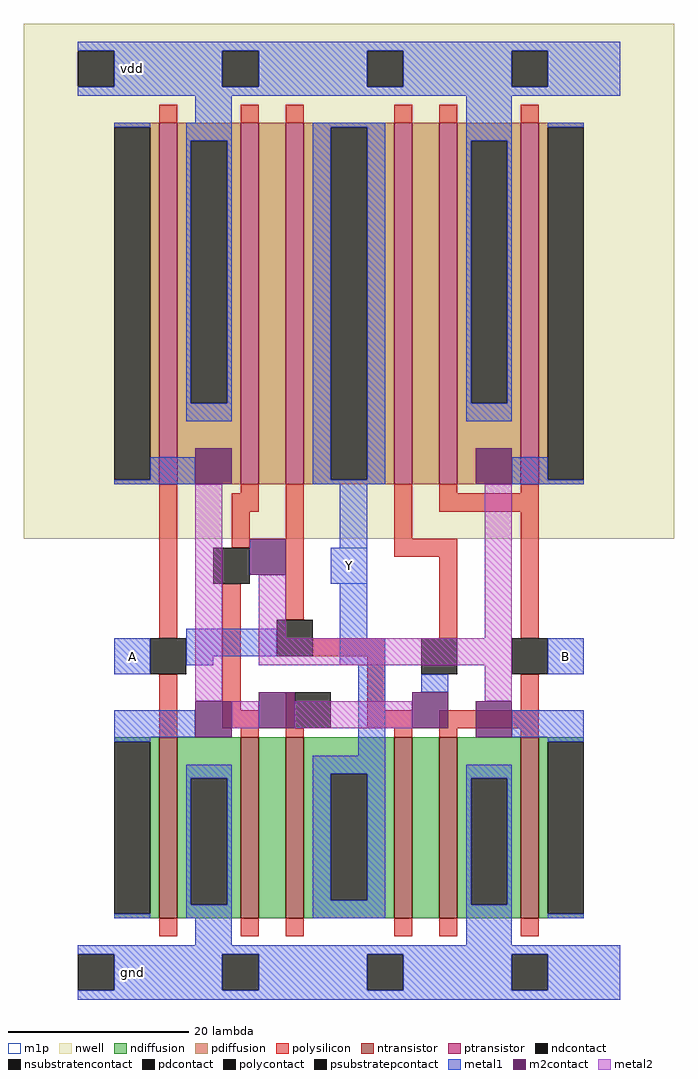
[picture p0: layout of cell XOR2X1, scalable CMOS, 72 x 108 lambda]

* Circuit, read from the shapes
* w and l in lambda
.subckt XOR2X1 A B Y vdd gnd
M1 gnd A n1 gnd nfet w=20 l=2
M2 n2 n3 gnd gnd nfet w=20 l=2
M3 Y n1 n2 gnd nfet w=20 l=2
M4 n4 A Y gnd nfet w=20 l=2
M5 gnd B n4 gnd nfet w=20 l=2
M6 n3 B gnd gnd nfet w=20 l=2
M7 vdd A n1 vdd pfet w=40 l=2
M8 n5 n3 vdd vdd pfet w=40 l=2
M9 Y A n5 vdd pfet w=40 l=2
M10 n6 n1 Y vdd pfet w=40 l=2
M11 vdd B n6 vdd pfet w=40 l=2
M12 n3 B vdd vdd pfet w=40 l=2
.ends

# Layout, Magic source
magic
tech scmos
magscale 1 2
<< nwell >>
rect -16 96 128 210
<< ntransistor >>
rect 14 12 18 52
rect 32 12 36 52
rect 42 12 46 52
rect 66 12 70 52
rect 76 12 80 52
rect 94 12 98 52
<< ptransistor >>
rect 14 108 18 188
rect 32 108 36 188
rect 42 108 46 188
rect 66 108 70 188
rect 76 108 80 188
rect 94 108 98 188
<< ndiffusion >>
rect 4 51 14 52
rect 12 13 14 51
rect 4 12 14 13
rect 18 43 32 52
rect 18 15 21 43
rect 29 15 32 43
rect 18 12 32 15
rect 36 12 42 52
rect 46 44 66 52
rect 46 16 52 44
rect 60 16 66 44
rect 46 12 66 16
rect 70 12 76 52
rect 80 43 94 52
rect 80 15 83 43
rect 91 15 94 43
rect 80 12 94 15
rect 98 51 108 52
rect 98 13 100 51
rect 98 12 108 13
<< pdiffusion >>
rect 4 187 14 188
rect 12 109 14 187
rect 4 108 14 109
rect 18 184 32 188
rect 18 126 21 184
rect 29 126 32 184
rect 18 108 32 126
rect 36 108 42 188
rect 46 187 66 188
rect 46 109 52 187
rect 60 109 66 187
rect 46 108 66 109
rect 70 108 76 188
rect 80 184 94 188
rect 80 126 83 184
rect 91 126 94 184
rect 80 108 94 126
rect 98 187 108 188
rect 98 109 100 187
rect 98 108 108 109
<< ndcontact >>
rect 4 13 12 51
rect 21 15 29 43
rect 52 16 60 44
rect 83 15 91 43
rect 100 13 108 51
<< pdcontact >>
rect 4 109 12 187
rect 21 126 29 184
rect 52 109 60 187
rect 83 126 91 184
rect 100 109 108 187
<< psubstratepcontact >>
rect -4 -4 4 4
rect 28 -4 36 4
rect 60 -4 68 4
rect 92 -4 100 4
<< nsubstratencontact >>
rect -4 196 4 204
rect 28 196 36 204
rect 60 196 68 204
rect 92 196 100 204
<< polysilicon >>
rect 14 188 18 192
rect 32 188 36 192
rect 42 188 46 192
rect 66 188 70 192
rect 76 188 80 192
rect 94 188 98 192
rect 14 74 18 108
rect 32 106 36 108
rect 30 102 36 106
rect 30 94 34 102
rect 14 52 18 66
rect 28 58 32 86
rect 42 78 46 108
rect 66 96 70 108
rect 76 106 80 108
rect 94 106 98 108
rect 76 102 98 106
rect 66 92 80 96
rect 76 74 80 92
rect 94 74 98 102
rect 48 70 64 74
rect 28 54 36 58
rect 32 52 36 54
rect 42 54 44 62
rect 60 58 64 70
rect 94 58 98 66
rect 60 54 70 58
rect 42 52 46 54
rect 66 52 70 54
rect 76 54 98 58
rect 76 52 80 54
rect 94 52 98 54
rect 14 8 18 12
rect 32 8 36 12
rect 42 8 46 12
rect 66 8 70 12
rect 76 8 80 12
rect 94 8 98 12
<< polycontact >>
rect 26 86 34 94
rect 12 66 20 74
rect 40 70 48 78
rect 44 54 52 62
rect 72 66 80 74
rect 92 66 100 74
<< metal1 >>
rect -4 204 116 206
rect 4 196 28 204
rect 36 196 60 204
rect 68 196 92 204
rect 100 196 116 204
rect -4 194 116 196
rect 22 188 30 194
rect 4 187 12 188
rect 20 184 30 188
rect 20 126 21 184
rect 29 126 30 184
rect 20 122 30 126
rect 48 187 64 188
rect 12 109 22 114
rect 4 108 22 109
rect 48 109 52 187
rect 60 109 64 187
rect 82 184 92 194
rect 82 126 83 184
rect 91 126 92 184
rect 82 122 92 126
rect 100 187 108 188
rect 48 108 64 109
rect 92 109 100 114
rect 92 108 108 109
rect 54 94 60 108
rect 52 86 60 94
rect 4 66 12 74
rect 20 70 40 76
rect 54 74 60 86
rect 20 68 26 70
rect 54 68 64 74
rect 4 52 22 58
rect 4 51 12 52
rect 58 48 64 68
rect 100 66 108 74
rect 72 62 78 66
rect 92 52 108 58
rect 4 12 12 13
rect 20 43 30 46
rect 20 15 21 43
rect 29 15 30 43
rect 20 12 30 15
rect 48 44 64 48
rect 100 51 108 52
rect 48 16 52 44
rect 60 16 64 44
rect 48 12 64 16
rect 82 43 92 46
rect 82 15 83 43
rect 91 15 92 43
rect 22 6 30 12
rect 82 6 92 15
rect 100 12 108 13
rect -4 4 116 6
rect 4 -4 28 4
rect 36 -4 60 4
rect 68 -4 92 4
rect 100 -4 116 4
rect -4 -6 116 -4
<< m2contact >>
rect 22 108 30 116
rect 84 108 92 116
rect 34 88 42 96
rect 22 52 30 60
rect 36 54 44 62
rect 70 54 78 62
rect 84 52 92 60
<< metal2 >>
rect 22 60 28 108
rect 36 74 42 88
rect 86 74 92 108
rect 36 68 92 74
rect 30 54 36 60
rect 44 54 70 60
rect 86 60 92 68
<< m1p >>
rect 52 86 60 94
rect 4 66 12 74
rect 100 66 108 74
<< labels >>
rlabel metal1 56 90 56 90 4 Y
port 3 se
rlabel metal1 8 200 8 200 4 vdd
port 4 se
rlabel metal1 104 70 104 70 4 B
port 2 se
rlabel metal1 8 70 8 70 4 A
port 1 se
rlabel metal1 8 0 8 0 4 gnd
port 5 se
<< end >>
